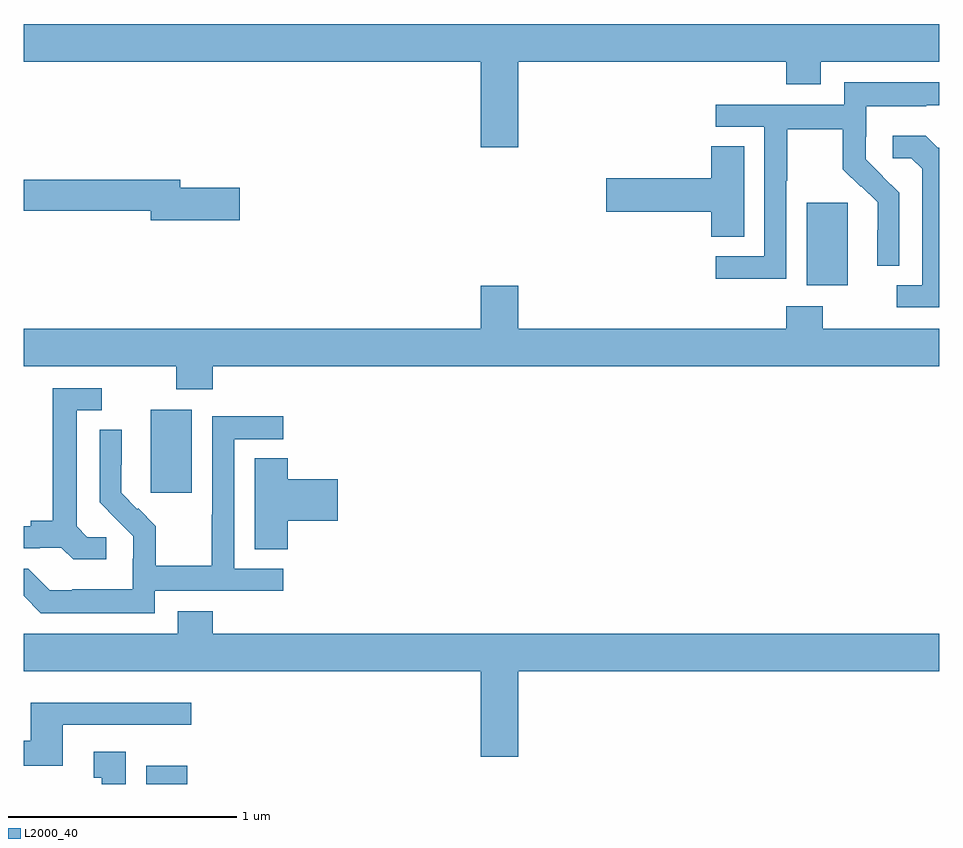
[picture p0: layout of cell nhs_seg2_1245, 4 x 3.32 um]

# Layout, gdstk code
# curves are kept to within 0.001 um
import gdstk
lib = gdstk.Library(unit=1e-6, precision=1e-09)
def R(c, l, rs):  # rectangles x0, y0, x1, y1
    for r in rs: c.add(gdstk.rectangle(r[:2], r[2:], *l))
def P(c, l, *ps):  # polygons
    for p in ps: c.add(gdstk.Polygon(p, *l))
L2000_40 = (2000, 40)

nhs_seg2_1245 = lib.new_cell('nhs_seg2_1245')
R(nhs_seg2_1245, L2000_40, [(175.535,657.8,175.714,657.88), (175.556,659.073,175.735,659.434), (178.421,659.978,178.6,660.339)])
P(nhs_seg2_1245, L2000_40, [(177.16,660.956),(178.331,660.956),(178.331,660.857),(178.483,660.857),(178.483,660.956),(179,660.956),(179,661.12),(175,661.12),(175,660.956),(176.996,660.956),(176.996,660.582),(177.16,660.582)],
  [(178.332,660.436),(178.335,660.436),(178.335,660.66),(178.579,660.66),(178.579,660.485),(178.656,660.408),(178.659,660.411),(178.73,660.341),(178.73,660.218),(178.728,660.218),(178.728,660.064),(178.824,660.064),(178.824,660.382),(178.678,660.53),(178.678,660.627),(178.68,660.627),(178.68,660.761),(178.943,660.761),(178.943,660.765),(179,660.765),(179,660.865),(178.584,660.865),(178.584,660.768),(178.023,660.768),(178.023,660.672),(178.236,660.672),(178.236,660.105),(178.023,660.105),(178.023,660.007),(178.332,660.007)],
  [(179,660.579),(178.992,660.579),(178.94,660.631),(178.797,660.631),(178.797,660.534),(178.878,660.534),(178.925,660.487),(178.925,659.979),(178.815,659.979),(178.815,659.883),(179,659.883)],
  [(178.147,660.587),(178.004,660.587),(178.004,660.446),(177.546,660.446),(177.546,660.299),(178.004,660.299),(178.004,660.19),(178.147,660.19)],
  [(175.945,660.404),(175.684,660.404),(175.684,660.44),(175,660.44),(175,660.304),(175.556,660.304),(175.556,660.262),(175.945,660.262)],
  [(175.826,659.624),(179,659.624),(179,659.788),(178.491,659.788),(178.491,659.887),(178.331,659.887),(178.331,659.788),(177.16,659.788),(177.16,659.977),(176.996,659.977),(176.996,659.788),(175,659.788),(175,659.624),(175.666,659.624),(175.666,659.525),(175.826,659.525)],
  [(175.36,658.878),(175.278,658.878),(175.231,658.925),(175.231,659.433),(175.342,659.433),(175.342,659.529),(175.127,659.529),(175.127,658.949),(175.031,658.949),(175.031,658.926),(175,658.926),(175,658.83),(175.07,658.83),(175.07,658.833),(175.164,658.833),(175.216,658.781),(175.36,658.781)],
  [(175.572,658.644),(176.134,658.644),(176.134,658.74),(175.92,658.74),(175.92,659.307),(176.134,659.307),(176.134,659.406),(175.824,659.406),(175.824,658.976),(175.822,658.976),(175.822,658.753),(175.577,658.753),(175.577,658.927),(175.5,659.004),(175.497,659.001),(175.427,659.072),(175.428,659.348),(175.332,659.348),(175.332,659.03),(175.478,658.882),(175.478,658.785),(175.476,658.785),(175.476,658.651),(175.213,658.651),(175.213,658.647),(175.113,658.647),(175.02,658.74),(175,658.74),(175,658.622),(175.075,658.547),(175.572,658.547)],
  [(176.153,658.949),(176.371,658.949),(176.371,659.132),(176.153,659.132),(176.153,659.222),(176.009,659.222),(176.009,658.825),(176.153,658.825)],
  [(177.16,658.292),(179,658.292),(179,658.456),(175.826,658.456),(175.826,658.555),(175.673,658.555),(175.673,658.456),(175,658.456),(175,658.292),(176.996,658.292),(176.996,657.918),(177.16,657.918)],
  [(175.171,658.059),(175.732,658.059),(175.732,658.156),(175.031,658.156),(175.031,657.988),(175,657.988),(175,657.879),(175.171,657.879)],
  [(175.447,657.94),(175.307,657.94),(175.307,657.827),(175.34,657.827),(175.34,657.8),(175.447,657.8)])

lib.write_gds('nhs_seg2_1245.gds')
